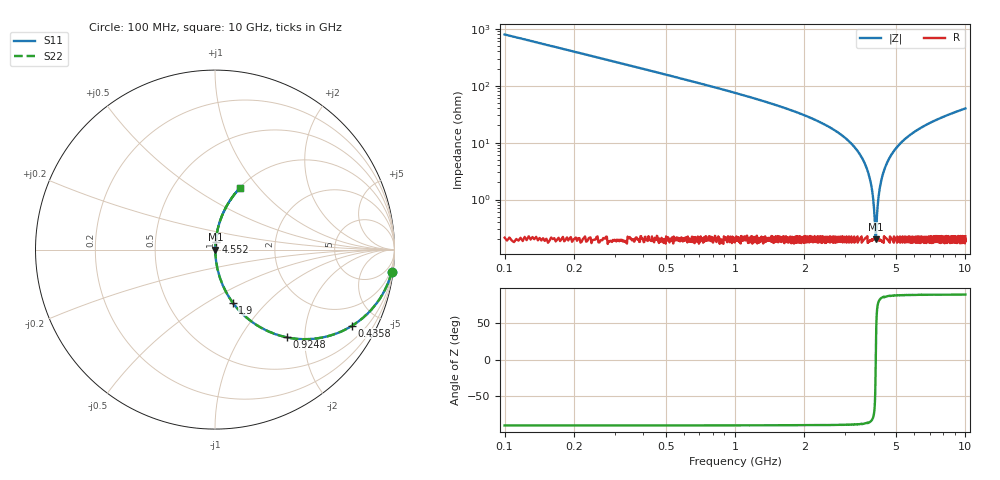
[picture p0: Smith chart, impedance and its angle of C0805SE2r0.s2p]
! AVX Thin Film Operation		Date: April 2012
! Description: Accu-P® Series, Thin Film, SMD, RF Capacitor
! Part Number: 08051J2R0PBTTR
!	100	MHz	-	10.05	GHz
!	Serial	Measurements
#	MHZ	S	MA	R	50
!	S11	S21	S12	S22
!	dB	Phase	dB	Phase	dB	Phase	dB	Phase
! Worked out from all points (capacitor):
!   4010 points, 100 MHz to 10 GHz, reference 50 ohm
!   read as one part in series: C = 2 pF near 149.4 MHz
!   lowest |Z| = 201 mohm at 4.081 GHz (marker M1)
!   series resonance near 4.082 GHz, so ESL is about 760 pH
!   S11 on the Smith chart (normalised r, x): 100 MHz: 1, -16; 435.8 MHz: 1.01, -3.61; 924.8 MHz: 1.00, -1.63; 1.9 GHz: 1.00, -0.66; 4.552 GHz: 1.00, +0.09; 10 GHz: 1.00, +0.80
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100  0.992 -7.2  0.125 82.8  0.125 82.8  0.992 -7.2
250.636  0.953 -17.5  0.301 72.4  0.301 72.4  0.953 -17.5
435.844  0.874 -29.0  0.484 61.0  0.484 61.0  0.874 -29.0
924.794  0.632 -50.7  0.774 39.2  0.774 39.2  0.632 -50.7
1752.058  0.347 -69.4  0.936 20.3  0.936 20.3  0.347 -69.4
1900.224  0.311 -71.5  0.948 18.1  0.948 18.1  0.311 -71.5
2818.858  0.146 -80.8  0.987 8.4  0.987 8.4  0.146 -80.8
3401.646  0.071 -84.3  0.995 4.1  0.995 4.1  0.071 -84.3
3675.755  0.041 -84.9  0.997 2.3  0.997 2.3  0.041 -84.9
3863.432  0.021 -83.4  0.998 1.2  0.998 1.2  0.021 -83.4
3962.21  0.012 -79.5  0.998 0.7  0.998 0.7  0.012 -79.5
4051.11  0.00355 -55.6  0.998 0.2  0.998 0.2  0.00355 -55.6
4080.743  0.002 -2.8  0.998 0.0  0.998 0.0  0.002 -2.8
4112.846  0.00356 55.8  0.998 -0.2  0.998 -0.2  0.00356 55.8
4191.868  0.011 78.5  0.998 -0.6  0.998 -0.6  0.011 78.5
4263.482  0.017 82.3  0.998 -1.0  0.998 -1.0  0.017 82.3
4552.407  0.043 84.9  0.997 -2.4  0.997 -2.4  0.043 84.9
5051.235  0.083 83.9  0.995 -4.8  0.995 -4.8  0.083 83.9
5755.026  0.135 81.4  0.989 -7.8  0.989 -7.8  0.135 81.4
6700.823  0.197 78.1  0.978 -11.4  0.978 -11.4  0.197 78.1
8350.412  0.29 72.8  0.955 -16.9  0.955 -16.9  0.29 72.8
10000  0.369 68.0  0.927 -21.7  0.927 -21.7  0.369 68.0
